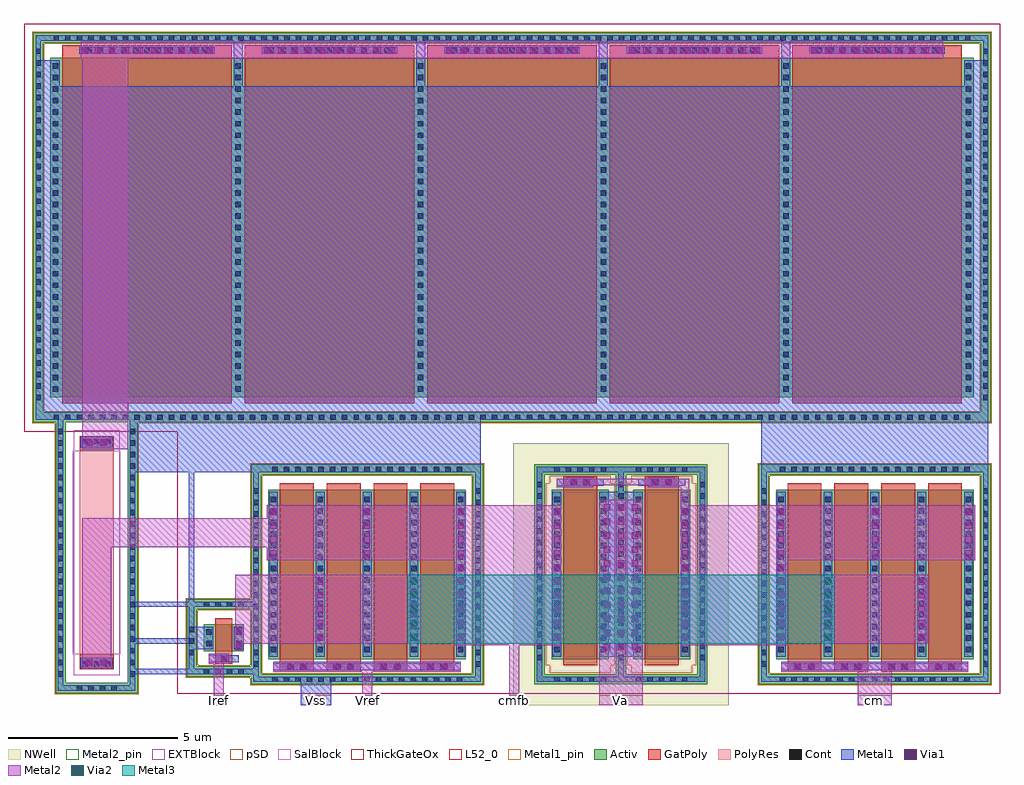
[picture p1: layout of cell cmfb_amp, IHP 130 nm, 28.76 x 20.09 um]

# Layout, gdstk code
from math import pi, radians
import gdstk
lib = gdstk.Library(unit=1e-6, precision=1e-09)
def R(c, l, rs):  # rectangles x0, y0, x1, y1
    for r in rs: c.add(gdstk.rectangle(r[:2], r[2:], *l))
def A(c, l, x, y, w, h, nx, ny, dx, dy):  # array of equal rectangles
    R(c, l, [(x+i*dx, y+j*dy, x+i*dx+w, y+j*dy+h) for i in range(nx) for j in range(ny)])
Activ = (1, 0)
GatPoly = (5, 0)
Cont = (6, 0)
Metal1 = (8, 0)
Metal1_pin = (8, 2)
Metal2 = (10, 0)
Metal2_pin = (10, 2)
pSD = (14, 0)
Via1 = (19, 0)
SalBlock = (28, 0)
Via2 = (29, 0)
Metal3 = (30, 0)
NWell = (31, 0)
ThickGateOx = (44, 0)
L52_0 = (52, 0)
EXTBlock = (111, 0)
PolyRes = (128, 0)

dev_n_w0p8_l0p5_ng1_clip = lib.new_cell('dev_n_w0p8_l0p5_ng1_cliprail1_topc0_viasrc100')
R(dev_n_w0p8_l0p5_ng1_clip, Activ, [(-1.1,-1.14,1.1,-0.84), (-1.1,-0.84,-0.8,0.84), (0.8,-0.84,1.1,0.84), (-0.59,-0.4,0.59,0.4), (-1.1,0.84,1.1,1.14)])
R(dev_n_w0p8_l0p5_ng1_clip, GatPoly, [(-0.25,-0.77,0.25,0.58)])
A(dev_n_w0p8_l0p5_ng1_clip, Cont, -0.59, -1.07, 0.16, 0.16, 4, 2, 0.34, 1.98)
A(dev_n_w0p8_l0p5_ng1_clip, Cont, -1.03, -0.515, 0.16, 0.16, 1, 3, 0, 0.34)
A(dev_n_w0p8_l0p5_ng1_clip, Cont, 0.87, -0.515, 0.16, 0.16, 1, 3, 0, 0.34)
R(dev_n_w0p8_l0p5_ng1_clip, Cont, [(-0.08,-0.7,0.08,-0.54), (-0.52,-0.25,-0.36,-0.09), (0.36,-0.25,0.52,-0.09), (-0.52,0.09,-0.36,0.25), (0.36,0.09,0.52,0.25)])
R(dev_n_w0p8_l0p5_ng1_clip, Metal1, [(-1.03,-1.07,1.03,-0.91), (-1.03,-0.91,-0.87,0.91), (0.87,-0.91,1.03,0.91), (-0.44,-0.725,0.44,-0.515), (-0.57,-0.33,-0.31,0.33), (0.29,-0.33,0.59,0.33), (-1.03,0.91,1.03,1.07)])
R(dev_n_w0p8_l0p5_ng1_clip, Metal2, [(-0.44,-0.765,0.14,-0.475), (0.34,-0.37,0.54,0.37)])
R(dev_n_w0p8_l0p5_ng1_clip, pSD, [(-1.13,-1.17,1.13,-0.81), (-1.13,-0.81,-0.77,0.81), (0.77,-0.81,1.13,0.81), (-1.13,0.81,1.13,1.17)])
R(dev_n_w0p8_l0p5_ng1_clip, Via1, [(-0.095,-0.715,0.095,-0.525), (0.345,-0.3,0.535,-0.11), (0.345,0.11,0.535,0.3)])
R(dev_n_w0p8_l0p5_ng1_clip, ThickGateOx, [(-1.37,-1.41,1.37,1.41)])
dev_n_w0p8_l0p5_ng1_clip.add(gdstk.Label('B', (0,-0.99), layer=8, texttype=25))
dev_n_w0p8_l0p5_ng1_clip.add(gdstk.Label('D', (-0.44,0), layer=8, texttype=25))
dev_n_w0p8_l0p5_ng1_clip.add(gdstk.Label('S', (0.44,0), layer=8, texttype=25))
dev_n_w0p8_l0p5_ng1_clip.add(gdstk.Label('G', (0,-0.62), layer=8, texttype=25))

dev_n_w5_l1_ng4_topc0 = lib.new_cell('dev_n_w5_l1_ng4_topc0')
R(dev_n_w5_l1_ng4_topc0, Activ, [(-3.42,-3.24,3.42,-2.94), (-3.42,-2.94,-3.12,2.94), (3.12,-2.94,3.42,2.94), (-2.91,-2.5,2.91,2.5), (-3.42,2.94,3.42,3.24)])
A(dev_n_w5_l1_ng4_topc0, GatPoly, -2.57, -2.87, 1, 5.55, 4, 1, 1.38, 0)
A(dev_n_w5_l1_ng4_topc0, Cont, -2.8, -3.17, 0.16, 0.16, 17, 2, 0.34, 6.18)
A(dev_n_w5_l1_ng4_topc0, Cont, -3.35, -2.725, 0.16, 0.16, 1, 16, 0, 0.34)
A(dev_n_w5_l1_ng4_topc0, Cont, 3.19, -2.725, 0.16, 0.16, 1, 16, 0, 0.34)
A(dev_n_w5_l1_ng4_topc0, Cont, -2.84, -2.29, 0.16, 0.16, 5, 14, 1.38, 0.34)
R(dev_n_w5_l1_ng4_topc0, Cont, [(-2.32,-2.8,-2.16,-2.64), (-1.98,-2.8,-1.82,-2.64), (-0.94,-2.8,-0.78,-2.64), (-0.6,-2.8,-0.44,-2.64), (0.44,-2.8,0.6,-2.64), (0.78,-2.8,0.94,-2.64), (1.82,-2.8,1.98,-2.64), (2.16,-2.8,2.32,-2.64)])
A(dev_n_w5_l1_ng4_topc0, Metal1, -2.89, -2.43, 0.26, 4.86, 5, 1, 1.38, 0)
R(dev_n_w5_l1_ng4_topc0, Metal1, [(-3.35,-3.17,3.35,-3.01), (-3.35,-3.01,-3.19,3.01), (3.19,-3.01,3.35,3.01), (-2.76,-2.825,2.76,-2.615), (-3.35,3.01,3.35,3.17)])
A(dev_n_w5_l1_ng4_topc0, Metal2, -2.46, -2.865, 0.78, 0.045, 4, 2, 1.38, 0.245)
R(dev_n_w5_l1_ng4_topc0, Metal2, [(-2.76,-2.82,2.76,-2.62)])
R(dev_n_w5_l1_ng4_topc0, pSD, [(-3.45,-3.27,3.45,-2.91), (-3.45,-2.91,-3.09,2.91), (3.09,-2.91,3.45,2.91), (-3.45,2.91,3.45,3.27)])
R(dev_n_w5_l1_ng4_topc0, Via1, [(-2.37,-2.815,-2.18,-2.625), (-1.96,-2.815,-1.77,-2.625), (-0.99,-2.815,-0.8,-2.625), (-0.58,-2.815,-0.39,-2.625), (0.39,-2.815,0.58,-2.625), (0.8,-2.815,0.99,-2.625), (1.77,-2.815,1.96,-2.625), (2.18,-2.815,2.37,-2.625)])
R(dev_n_w5_l1_ng4_topc0, ThickGateOx, [(-3.69,-3.51,3.69,3.51)])
dev_n_w5_l1_ng4_topc0.add(gdstk.Label('B', (0,-3.09), layer=8, texttype=25))
dev_n_w5_l1_ng4_topc0.add(gdstk.Label('D0', (-2.76,0), layer=8, texttype=25))
dev_n_w5_l1_ng4_topc0.add(gdstk.Label('G', (2.07,-2.72), layer=8, texttype=25))
dev_n_w5_l1_ng4_topc0.add(gdstk.Label('G', (0.69,-2.72), layer=8, texttype=25))
dev_n_w5_l1_ng4_topc0.add(gdstk.Label('G', (-0.69,-2.72), layer=8, texttype=25))
dev_n_w5_l1_ng4_topc0.add(gdstk.Label('G', (-2.07,-2.72), layer=8, texttype=25))
dev_n_w5_l1_ng4_topc0.add(gdstk.Label('S1', (-1.38,0), layer=8, texttype=25))
dev_n_w5_l1_ng4_topc0.add(gdstk.Label('D2', (0,0), layer=8, texttype=25))
dev_n_w5_l1_ng4_topc0.add(gdstk.Label('S3', (1.38,0), layer=8, texttype=25))

dev_p_w5_l1_ng1_botc0 = lib.new_cell('dev_p_w5_l1_ng1_botc0')
R(dev_p_w5_l1_ng1_botc0, Activ, [(-1.35,-3.24,1.35,-2.94), (-1.35,-2.94,-1.05,2.94), (1.05,-2.94,1.35,2.94), (-0.84,-2.5,0.84,2.5), (-1.35,2.94,1.35,3.24)])
R(dev_p_w5_l1_ng1_botc0, GatPoly, [(-0.5,-2.68,0.5,2.87)])
A(dev_p_w5_l1_ng1_botc0, Cont, -0.76, -3.17, 0.16, 0.16, 5, 2, 0.34, 6.18)
A(dev_p_w5_l1_ng1_botc0, Cont, -1.28, -2.535, 0.16, 0.16, 1, 16, 0, 0.34)
A(dev_p_w5_l1_ng1_botc0, Cont, 1.12, -2.535, 0.16, 0.16, 1, 16, 0, 0.34)
A(dev_p_w5_l1_ng1_botc0, Cont, -0.77, -2.29, 0.16, 0.16, 1, 14, 0, 0.34)
A(dev_p_w5_l1_ng1_botc0, Cont, 0.61, -2.29, 0.16, 0.16, 1, 14, 0, 0.34)
R(dev_p_w5_l1_ng1_botc0, Cont, [(-0.25,2.64,-0.09,2.8), (0.09,2.64,0.25,2.8)])
R(dev_p_w5_l1_ng1_botc0, Metal1, [(-1.28,-3.17,1.28,-3.01), (-1.28,-3.01,-1.12,3.01), (1.12,-3.01,1.28,3.01), (-0.82,-2.43,-0.56,2.43), (0.56,-2.43,0.82,2.43), (-0.69,2.615,0.69,2.825), (-1.28,3.01,1.28,3.17)])
R(dev_p_w5_l1_ng1_botc0, Metal2, [(-0.39,2.575,0.39,2.62), (-0.69,2.62,0.69,2.82), (-0.39,2.82,0.39,2.865)])
R(dev_p_w5_l1_ng1_botc0, pSD, [(-0.9,-2.9,0.9,-2.68), (-1.02,-2.68,1.02,2.68), (-0.9,2.68,0.9,2.9)])
R(dev_p_w5_l1_ng1_botc0, Via1, [(-0.3,2.625,-0.11,2.815), (0.11,2.625,0.3,2.815)])
R(dev_p_w5_l1_ng1_botc0, NWell, [(-1.97,-3.86,1.97,3.86)])
R(dev_p_w5_l1_ng1_botc0, ThickGateOx, [(-1.62,-3.51,1.62,3.51)])
dev_p_w5_l1_ng1_botc0.add(gdstk.Label('B', (0,-3.09), layer=8, texttype=25))
dev_p_w5_l1_ng1_botc0.add(gdstk.Label('D', (-0.69,0), layer=8, texttype=25))
dev_p_w5_l1_ng1_botc0.add(gdstk.Label('S', (0.69,0), layer=8, texttype=25))
dev_p_w5_l1_ng1_botc0.add(gdstk.Label('G', (0,2.72), layer=8, texttype=25))

dev_n_w10_l5_ng5_m2rail1 = lib.new_cell('dev_n_w10_l5_ng5_m2rail1_conn_gates0_polycov80_topc0')
R(dev_n_w10_l5_ng5_m2rail1, Activ, [(-14.11,-5.74,14.11,-5.44), (-14.11,-5.44,-13.81,5.44), (13.81,-5.44,14.11,5.44), (-13.6,-5,13.6,5), (-14.11,5.44,14.11,5.74)])
A(dev_n_w10_l5_ng5_m2rail1, GatPoly, -13.26, -5.37, 5, 10.55, 5, 1, 5.38, 0)
A(dev_n_w10_l5_ng5_m2rail1, Cont, -13.51, -5.67, 0.16, 0.16, 80, 2, 0.34, 11.18)
A(dev_n_w10_l5_ng5_m2rail1, Cont, -12.54, -5.3, 0.16, 0.16, 11, 1, 0.34, 0)
A(dev_n_w10_l5_ng5_m2rail1, Cont, -7.16, -5.3, 0.16, 0.16, 11, 1, 0.34, 0)
A(dev_n_w10_l5_ng5_m2rail1, Cont, -1.78, -5.3, 0.16, 0.16, 11, 1, 0.34, 0)
A(dev_n_w10_l5_ng5_m2rail1, Cont, 3.6, -5.3, 0.16, 0.16, 11, 1, 0.34, 0)
A(dev_n_w10_l5_ng5_m2rail1, Cont, 8.98, -5.3, 0.16, 0.16, 11, 1, 0.34, 0)
A(dev_n_w10_l5_ng5_m2rail1, Cont, -14.04, -5.275, 0.16, 0.16, 1, 31, 0, 0.34)
A(dev_n_w10_l5_ng5_m2rail1, Cont, 13.88, -5.275, 0.16, 0.16, 1, 31, 0, 0.34)
A(dev_n_w10_l5_ng5_m2rail1, Cont, -13.53, -4.84, 0.16, 0.16, 6, 29, 5.38, 0.34)
A(dev_n_w10_l5_ng5_m2rail1, Metal1, -12.755, -5.325, 3.99, 0.21, 5, 1, 5.38, 0)
A(dev_n_w10_l5_ng5_m2rail1, Metal1, -13.58, -4.93, 0.26, 9.86, 6, 1, 5.38, 0)
R(dev_n_w10_l5_ng5_m2rail1, Metal1, [(-14.04,-5.67,14.04,-5.51), (-14.04,-5.51,-13.88,5.51), (13.88,-5.51,14.04,5.51), (-14.04,5.51,14.04,5.67)])
R(dev_n_w10_l5_ng5_m2rail1, Metal2, [(-12.705,-5.47,12.705,-4.97)])
R(dev_n_w10_l5_ng5_m2rail1, pSD, [(-14.14,-5.77,14.14,-5.41), (-14.14,-5.41,-13.78,5.41), (13.78,-5.41,14.14,5.41), (-14.14,5.41,14.14,5.77)])
A(dev_n_w10_l5_ng5_m2rail1, Via1, -12.7, -5.315, 0.19, 0.19, 10, 1, 0.41, 0)
A(dev_n_w10_l5_ng5_m2rail1, Via1, -7.32, -5.315, 0.19, 0.19, 10, 1, 0.41, 0)
A(dev_n_w10_l5_ng5_m2rail1, Via1, -1.94, -5.315, 0.19, 0.19, 10, 1, 0.41, 0)
A(dev_n_w10_l5_ng5_m2rail1, Via1, 3.44, -5.315, 0.19, 0.19, 10, 1, 0.41, 0)
A(dev_n_w10_l5_ng5_m2rail1, Via1, 8.82, -5.315, 0.19, 0.19, 10, 1, 0.41, 0)
R(dev_n_w10_l5_ng5_m2rail1, ThickGateOx, [(-14.38,-6.01,14.38,6.01)])
dev_n_w10_l5_ng5_m2rail1.add(gdstk.Label('B', (0,-5.59), layer=8, texttype=25))
dev_n_w10_l5_ng5_m2rail1.add(gdstk.Label('D0', (-13.45,0), layer=8, texttype=25))
dev_n_w10_l5_ng5_m2rail1.add(gdstk.Label('G0', (-10.76,-5.22), layer=8, texttype=25))
dev_n_w10_l5_ng5_m2rail1.add(gdstk.Label('S1', (-8.07,0), layer=8, texttype=25))
dev_n_w10_l5_ng5_m2rail1.add(gdstk.Label('G1', (-5.38,-5.22), layer=8, texttype=25))
dev_n_w10_l5_ng5_m2rail1.add(gdstk.Label('D2', (-2.69,0), layer=8, texttype=25))
dev_n_w10_l5_ng5_m2rail1.add(gdstk.Label('G2', (0,-5.22), layer=8, texttype=25))
dev_n_w10_l5_ng5_m2rail1.add(gdstk.Label('S3', (2.69,0), layer=8, texttype=25))
dev_n_w10_l5_ng5_m2rail1.add(gdstk.Label('G3', (5.38,-5.22), layer=8, texttype=25))
dev_n_w10_l5_ng5_m2rail1.add(gdstk.Label('D4', (8.07,0), layer=8, texttype=25))
dev_n_w10_l5_ng5_m2rail1.add(gdstk.Label('S4', (13.45,0), layer=8, texttype=25))
dev_n_w10_l5_ng5_m2rail1.add(gdstk.Label('G4', (10.76,-5.22), layer=8, texttype=25))

dev_rppd_w1_l6 = lib.new_cell('dev_rppd_w1_l6')
R(dev_rppd_w1_l6, Activ, [(-1.21,-4.14,1.21,-3.84), (-1.21,-3.84,-0.91,3.84), (0.91,-3.84,1.21,3.84), (-1.21,3.84,1.21,4.14)])
R(dev_rppd_w1_l6, GatPoly, [(-0.5,-3.43,0.5,-3), (-0.5,3,0.5,3.43)])
A(dev_rppd_w1_l6, Cont, -0.59, -4.07, 0.16, 0.16, 4, 2, 0.34, 7.98)
A(dev_rppd_w1_l6, Cont, -1.14, -3.65, 0.16, 0.16, 1, 22, 0, 0.34)
A(dev_rppd_w1_l6, Cont, 0.98, -3.65, 0.16, 0.16, 1, 22, 0, 0.34)
A(dev_rppd_w1_l6, Cont, -0.42, -3.36, 0.16, 0.16, 3, 2, 0.34, 6.56)
R(dev_rppd_w1_l6, Metal1, [(-1.14,-4.07,1.14,-3.91), (-1.14,-3.91,-0.98,3.91), (0.98,-3.91,1.14,3.91), (-0.48,-3.41,0.48,-3.095), (-0.48,3.095,0.48,3.41), (-1.14,3.91,1.14,4.07)])
R(dev_rppd_w1_l6, Metal2, [(-0.43,-3.425,0.43,-3.055), (-0.43,3.055,0.43,3.425)])
R(dev_rppd_w1_l6, pSD, [(-1.24,-4.17,1.24,4.17)])
R(dev_rppd_w1_l6, Via1, [(-0.3,-3.335,-0.11,-3.145), (0.11,-3.335,0.3,-3.145), (-0.3,3.145,-0.11,3.335), (0.11,3.145,0.3,3.335)])
R(dev_rppd_w1_l6, SalBlock, [(-0.7,-3,0.7,3)])
R(dev_rppd_w1_l6, L52_0, [(-0.5,-3,0.5,3)])
R(dev_rppd_w1_l6, EXTBlock, [(-0.68,-3.61,0.68,3.61)])
R(dev_rppd_w1_l6, PolyRes, [(-0.5,-3,0.5,3)])
dev_rppd_w1_l6.add(gdstk.Label('B', (0,-3.99), layer=8, texttype=25))
dev_rppd_w1_l6.add(gdstk.Label('R1', (0,3.28), layer=8, texttype=25))
dev_rppd_w1_l6.add(gdstk.Label('R2', (0,-3.28), layer=8, texttype=25))

cmfb_amp = lib.new_cell('cmfb_amp')
A(cmfb_amp, Metal1, 1.63, 9.375, 5.12, 9.09, 5, 1, 5.38, 0)
A(cmfb_amp, Metal1, 6.75, 19.235, 0.26, 0.58, 4, 1, 5.38, 0)
R(cmfb_amp, Metal1, [(8.72,0.225,9.62,1.005), (3.85,1.145,5.43,1.305), (17.78,1.655,18.08,6.515), (18.24,1.655,18.54,6.515), (5.59,1.885,5.89,2.545), (3.85,2.04,5.43,2.2), (3.85,3.125,5.43,3.285), (5.43,3.285,5.59,7.095), (3.85,7.095,7.33,8.635), (7.33,7.255,14.03,8.635), (22.29,7.255,28.99,8.635), (1.07,8.795,28.83,9.375), (1.07,9.375,1.37,19.235), (28.53,9.375,28.83,19.235)])
R(cmfb_amp, Metal1_pin, [(8.72,0.225,9.62,0.525)])
R(cmfb_amp, Metal2, [(6.16,0.225,6.46,1.45), (10.53,0.225,10.83,1.22), (14.87,0.225,15.17,2.045), (17.52,0.225,18.8,1.72), (25.14,0.225,26.14,1.22), (7.92,1.22,13.44,1.51), (22.88,1.22,28.4,1.51), (17.52,1.72,18.8,6.28), (13.245,1.995,13.635,4.535), (13.635,1.995,16.4,6.125), (19.92,1.995,22.685,6.125), (22.685,1.995,23.075,4.535), (6.8,2.045,9.105,4.075), (9.105,2.045,12.255,4.075), (24.065,2.045,27.215,4.075), (7.725,4.505,13.635,6.125), (22.685,4.505,28.595,6.125), (19.92,6.125,20.05,6.705), (20.05,6.125,20.18,6.905), (16.27,6.66,16.57,6.705), (19.75,6.66,19.92,6.705), (17.65,6.705,18.67,6.905), (3.14,7.78,3.64,19.275), (2.28,8.15,3.14,19.275)])
R(cmfb_amp, Metal2_pin, [(6.16,0.225,6.46,0.525), (10.53,0.225,10.83,0.525), (14.87,0.225,15.17,0.525), (17.52,0.225,18.8,0.525), (25.14,0.225,26.14,0.525)])
A(cmfb_amp, Via1, 17.655, 1.855, 0.19, 0.19, 3, 11, 0.41, 0.41)
A(cmfb_amp, Via1, 9.205, 2.145, 0.19, 0.19, 1, 5, 0, 0.41)
A(cmfb_amp, Via1, 11.965, 2.145, 0.19, 0.19, 1, 5, 0, 0.41)
A(cmfb_amp, Via1, 13.345, 2.145, 0.19, 0.19, 1, 6, 0, 0.41)
A(cmfb_amp, Via1, 16.175, 2.145, 0.19, 0.19, 1, 10, 0, 0.41)
A(cmfb_amp, Via1, 19.955, 2.145, 0.19, 0.19, 1, 10, 0, 0.41)
A(cmfb_amp, Via1, 22.785, 2.145, 0.19, 0.19, 1, 6, 0, 0.41)
A(cmfb_amp, Via1, 24.165, 2.145, 0.19, 0.19, 1, 5, 0, 0.41)
A(cmfb_amp, Via1, 26.925, 2.145, 0.19, 0.19, 1, 5, 0, 0.41)
A(cmfb_amp, Via1, 7.825, 4.605, 0.19, 0.19, 3, 4, 2.76, 0.41)
A(cmfb_amp, Via1, 22.785, 4.605, 0.19, 0.19, 3, 4, 2.76, 0.41)
A(cmfb_amp, Via2, 11.965, 2.145, 0.19, 0.19, 1, 5, 0, 0.41)
A(cmfb_amp, Via2, 24.165, 2.145, 0.19, 0.19, 1, 5, 0, 0.41)
R(cmfb_amp, Metal3, [(11.865,2.045,12.255,4.075), (12.255,2.045,24.39,4.075), (24.065,2.045,24.455,4.075)])
R(cmfb_amp, ThickGateOx, [(5.09,0.575,6.99,0.805), (14.37,0.575,15.34,7.595), (20.98,0.575,21.95,8.295), (5.09,3.625,6.99,8.295), (6.99,7.595,14.37,8.295), (14.37,7.595,20.98,8.295), (21.95,7.595,29.33,8.295)])
cmfb_amp.add(gdstk.FlexPath([(2.71,1.67),(2.71,5.315),(7.725,5.315),(7.725,5.315)], 0.86, ends="flush", simple_path=True, layer=10, datatype=0))  # Metal2
cmfb_amp.add(gdstk.Reference(dev_n_w0p8_l0p5_ng1_clip, (6.46,2.215)))
cmfb_amp.add(gdstk.Reference(dev_n_w5_l1_ng4_topc0, (10.68,4.085)))
cmfb_amp.add(gdstk.Reference(dev_n_w5_l1_ng4_topc0, (25.64,4.085), rotation=pi, x_reflection=True))
cmfb_amp.add(gdstk.Reference(dev_p_w5_l1_ng1_botc0, (16.96,4.085)))
cmfb_amp.add(gdstk.Reference(dev_p_w5_l1_ng1_botc0, (19.36,4.085), rotation=pi, x_reflection=True))
cmfb_amp.add(gdstk.Reference(dev_n_w10_l5_ng5_m2rail1, (14.95,14.305), rotation=pi))
cmfb_amp.add(gdstk.Reference(dev_rppd_w1_l6, (2.71,4.725)))
cmfb_amp.add(gdstk.Label('Vss', (9.17,0.375), layer=8, texttype=25))
cmfb_amp.add(gdstk.Label('cm', (25.64,0.375), layer=10, texttype=25))
cmfb_amp.add(gdstk.Label('Vref', (10.68,0.375), layer=10, texttype=25))
cmfb_amp.add(gdstk.Label('cmfb', (15.02,0.375), layer=10, texttype=25))
cmfb_amp.add(gdstk.Label('Iref', (6.31,0.375), layer=10, texttype=25))
cmfb_amp.add(gdstk.Label('Va', (18.16,0.375), layer=10, texttype=25))

lib.write_gds('cmfb_amp.gds')
